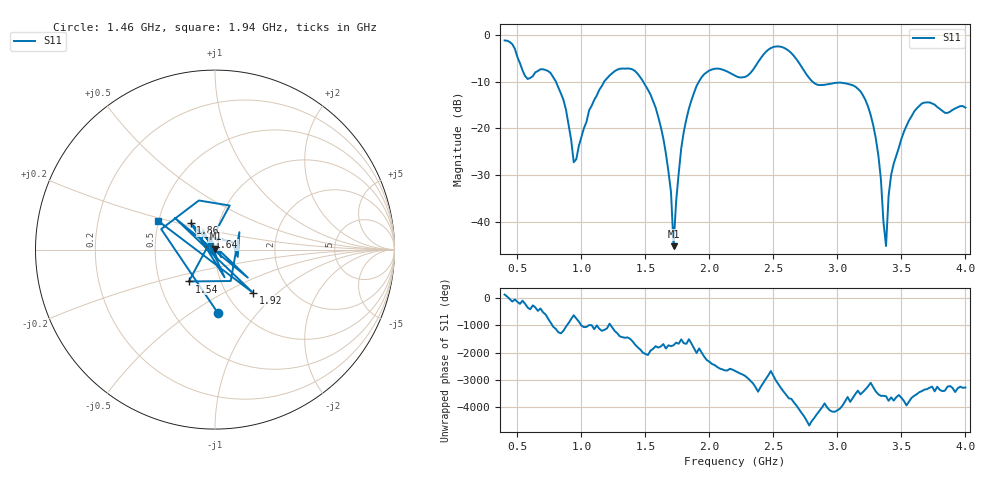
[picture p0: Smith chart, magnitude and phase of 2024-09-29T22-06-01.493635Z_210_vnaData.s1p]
!Created with skrf (http://scikit-rf.org).
# Hz S RI R 50.0
!freq ReS11 ImS11
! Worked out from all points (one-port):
!   181 points, 400 MHz to 4 GHz, reference 50 ohm
!   lowest |S11| = -45.2 dB at 1.72 GHz (marker M1), VSWR 1.01, Z = 50.2 + j0.51 ohm
!   |S11| at or under -10 dB: 800.8 MHz to 1.178 GHz (377.2 MHz wide, 38.1 % of centre); 1.483 GHz to 1.918 GHz (435.6 MHz wide, 25.6 % of centre); 2.806 GHz to end of sweep
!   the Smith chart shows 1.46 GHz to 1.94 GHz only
!   S11 on the Smith chart (normalised r, x): 1.46 GHz: 0.80, -0.64; 1.54 GHz: 0.70, -0.26; 1.64 GHz: 0.93, +0.13; 1.86 GHz: 0.73, +0.23; 1.92 GHz: 1.32, -0.71; 1.94 GHz: 0.50, +0.18
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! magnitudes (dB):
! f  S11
! 400 MHz  -1.2
! 580 MHz  -9.4
! 740 MHz  -7.7
! 860 MHz  -13.9
! 940 MHz  -27.2
! 1.1 GHz  -13.9
! 1.3 GHz  -7.2
! 1.46 GHz  -9.0
! 1.54 GHz  -12.8
! 1.64 GHz  -22.1
! 1.7 GHz  -33.6
! 1.72 GHz  -45.2
! 1.76 GHz  -29.6
! 1.86 GHz  -14.0
! 1.92 GHz  -9.9
! 1.94 GHz  -9.0
! 2.2 GHz  -8.7
! 2.5 GHz  -2.6
! 2.66 GHz  -4.5
! 2.84 GHz  -10.6
! 3.1 GHz  -10.6
! 3.28 GHz  -19.3
! 3.34 GHz  -30.9
! 3.38 GHz  -45.1
! 3.4 GHz  -34.4
! 3.42 GHz  -29.9
! 3.56 GHz  -18.3
! 4 GHz  -15.5
